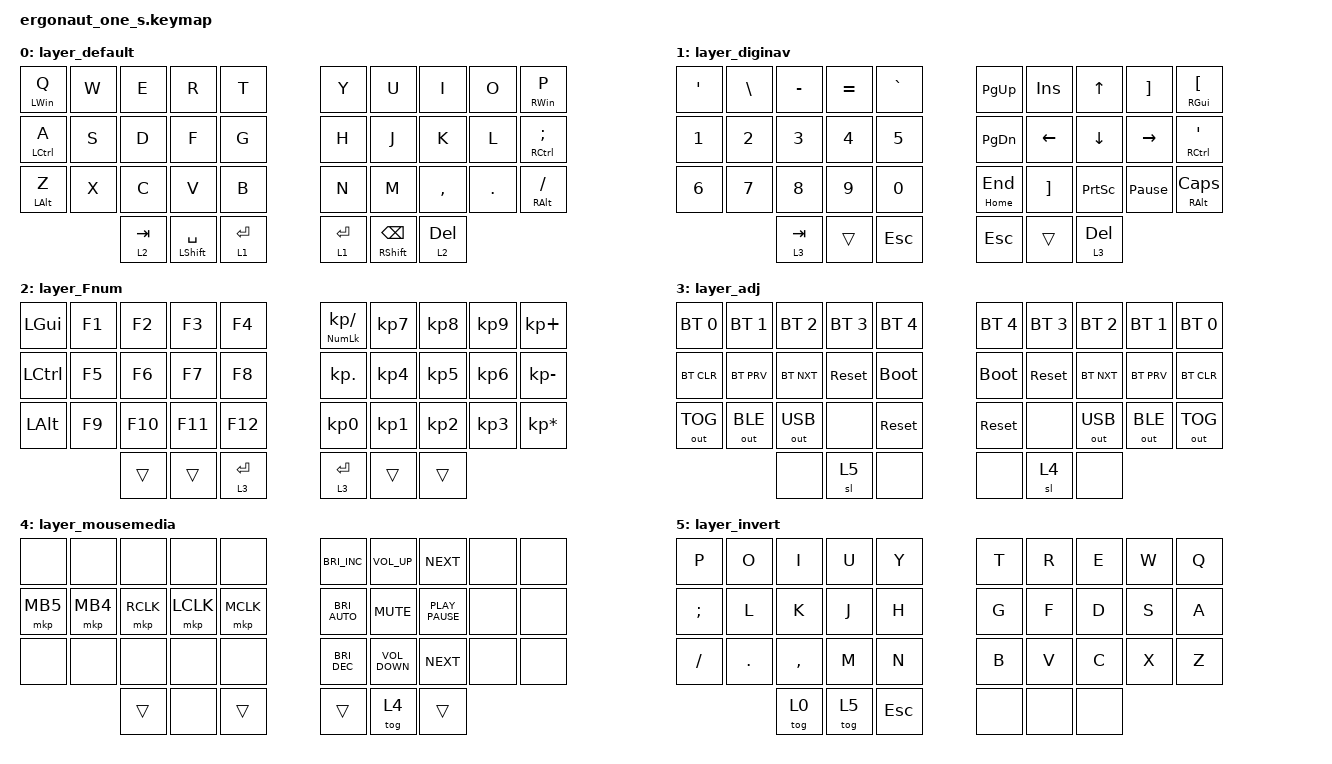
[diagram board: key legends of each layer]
#include <behaviors.dtsi>
#include <dt-bindings/zmk/bt.h>
#include <dt-bindings/zmk/keys.h>
#include <dt-bindings/zmk/mouse.h>
#include <dt-bindings/zmk/outputs.h>

#define BASE 0
#define NAV 1
#define MOUSE 2
#define MEDIA 3
#define NUM 4
#define SYM 5
#define FUN 6
#define ADJ 7

/ {
    behaviors {
        hm: homerow_mods {
            compatible = "zmk,behavior-hold-tap";
            label = "HOMEROW_MODS";
            #binding-cells = <2>;
            tapping-term-ms = <220>;
            quick_tap_ms = <0>;
            flavor = "balanced";
            bindings = <&kp>, <&kp>;
        };
    };

    combos {
        compatible = "zmk,combos";

        cyr_kh {
            bindings = <&kp LEFT_BRACKET>;
            key-positions = <8 9>;
        };

        cyr_e {
            bindings = <&kp SQT>;
            key-positions = <18 19>;
        };

        cyr_hs {
            bindings = <&kp RIGHT_BRACKET>;
            key-positions = <26 27>;
        };

        cyr_yo {
            bindings = <&kp GRAVE>;
            key-positions = <3 4>;
        };

        cyr_toggle_w {
            bindings = <&kp LS(LEFT_ALT)>;
            key-positions = <11 12 13>;
        };

        cyr_toggle_w_r {
            bindings = <&kp RS(RIGHT_ALT)>;
            key-positions = <16 17 18>;
        };

        cyr_toggle_mac {
            bindings = <&kp LC(SPACE)>;
            key-positions = <1 2 3>;
        };

        esc {
            bindings = <&kp ESCAPE>;
            key-positions = <32 33>;
        };
    };

    keymap {
        compatible = "zmk,keymap";

        layer_default {
            bindings = <
&hm LEFT_WIN Q  &kp W  &kp E  &kp R      &kp T                 &kp Y        &kp U      &kp I                      &kp O      &hm RIGHT_WIN P
&hm LCTRL A     &kp S  &kp D  &kp F      &kp G                 &kp H        &kp J      &kp K                      &kp L      &hm RCTRL SEMI
&hm LEFT_ALT Z  &kp X  &kp C  &kp V      &kp B                 &kp N        &kp M      &kp COMMA                  &kp DOT    &hm RIGHT_ALT SLASH
                              &lt 2 TAB  &mt LEFT_SHIFT SPACE  &lt 1 ENTER  &lt 1 RET  &mt RIGHT_SHIFT BACKSPACE  &lt 2 DEL
            >;
        };

        layer_diginav {
            bindings = <
&kp SINGLE_QUOTE  &kp BACKSLASH  &kp MINUS     &kp EQUAL     &kp GRAVE     &kp PG_UP      &kp INSERT         &kp UP_ARROW     &kp RIGHT_BRACKET  &mt RIGHT_GUI LEFT_BRACKET
&kp NUMBER_1      &kp NUMBER_2   &kp NUMBER_3  &kp NUMBER_4  &kp NUMBER_5  &kp PAGE_DOWN  &kp LEFT           &kp DOWN         &kp RIGHT          &mt RCTRL SINGLE_QUOTE
&kp NUMBER_6      &kp NUMBER_7   &kp NUMBER_8  &kp NUMBER_9  &kp NUMBER_0  &mt HOME END   &kp RIGHT_BRACKET  &kp PRINTSCREEN  &kp PAUSE_BREAK    &mt RIGHT_ALT CAPSLOCK
                                               &lt 3 TAB     &trans        &kp ESCAPE     &kp ESCAPE         &trans           &lt 3 DELETE
            >;
        };

        layer_Fnum {
            bindings = <
&kp LEFT_GUI  &kp F1  &kp F2   &kp F3   &kp F4   &mt KP_NUMLOCK KP_SLASH  &kp KP_NUMBER_7  &kp KP_NUMBER_8  &kp KP_NUMBER_9  &kp KP_PLUS
&kp LCTRL     &kp F5  &kp F6   &kp F7   &kp F8   &kp KP_DOT               &kp KP_NUMBER_4  &kp KP_NUMBER_5  &kp KP_NUMBER_6  &kp KP_SUBTRACT
&kp LEFT_ALT  &kp F9  &kp F10  &kp F11  &kp F12  &kp KP_NUMBER_0          &kp KP_NUMBER_1  &kp KP_NUMBER_2  &kp KP_NUMBER_3  &kp KP_MULTIPLY
                               &trans   &trans   &lt 3 ENTER              &lt 3 ENTER      &trans           &trans
            >;
        };

        layer_adj {
            bindings = <
&bt BT_SEL 0  &bt BT_SEL 1  &bt BT_SEL 2  &bt BT_SEL 3  &bt BT_SEL 4  &bt BT_SEL 4  &bt BT_SEL 3  &bt BT_SEL 2  &bt BT_SEL 1  &bt BT_SEL 0
&bt BT_CLR    &bt BT_PRV    &bt BT_NXT    &sys_reset    &bootloader   &bootloader   &sys_reset    &bt BT_NXT    &bt BT_PRV    &bt BT_CLR
&out OUT_TOG  &out OUT_BLE  &out OUT_USB  &none         &sys_reset    &sys_reset    &none         &out OUT_USB  &out OUT_BLE  &out OUT_TOG
                                          &none         &sl 5         &none         &none         &sl 4         &none
            >;
        };

        layer_mousemedia {
            bindings = <
&none     &none     &none      &none      &none      &kp C_BRIGHTNESS_INC   &kp C_VOLUME_UP    &kp C_NEXT        &none   &none
&mkp MB5  &mkp MB4  &mkp RCLK  &mkp LCLK  &mkp MCLK  &kp C_BRIGHTNESS_AUTO  &kp C_MUTE         &kp K_PLAY_PAUSE  &none   &none
&none     &none     &none      &none      &none      &kp C_BRIGHTNESS_DEC   &kp C_VOLUME_DOWN  &kp C_NEXT        &none   &none
                               &trans     &none      &trans                 &trans             &tog 4            &trans
            >;
        };

        layer_invert {
            bindings = <
&kp P          &kp O       &kp I      &kp U   &kp Y   &kp T       &kp R  &kp E  &kp W  &kp Q
&kp SEMICOLON  &kp L       &kp K      &kp J   &kp H   &kp G       &kp F  &kp D  &kp S  &kp A
&kp SLASH      &kp PERIOD  &kp COMMA  &kp M   &kp N   &kp B       &kp V  &kp C  &kp X  &kp Z
                                      &tog 0  &tog 5  &kp ESCAPE  &none  &none  &none
            >;
        };
    };
};
